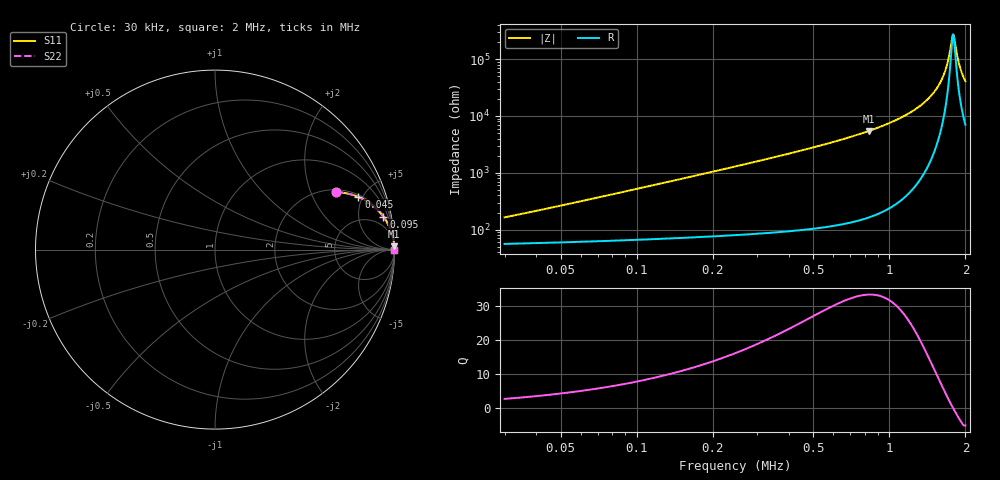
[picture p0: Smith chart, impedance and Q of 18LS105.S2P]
! Coilcraft 1812LS-105 Chip Inductor
! 8 August 2002
# MHZ S MA R 50
!Freq  MagS11  AngS11  MagS21  AngS21  MagS12  AngS12  MagS22  AngS22
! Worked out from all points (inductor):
!   395 points, 30 kHz to 2 MHz, reference 50 ohm
!   read as one part in series: L = 820 uH near 35 kHz
!   highest Q = 33.2 at 830 kHz (marker M1), where L = 1.04 mH
!   self-resonance near 1.785 MHz
!   S11 on the Smith chart (normalised r, x): 30 kHz: 2.12, +3.09; 45 kHz: 2.18, +4.64; 95 kHz: 2, +10; 2 MHz: open
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0.03  0.7486 25.3  0.4551 -44.7  0.4551 -44.7  0.7486 25.3
0.045  0.8512 20.2  0.3556 -55.6  0.3556 -55.6  0.8512 20.2
0.065  0.9158 15.3  0.2686 -64.2  0.2686 -64.2  0.9158 15.3
0.095  0.9559 11.0  0.193 -71.3  0.193 -71.3  0.9559 11.0
0.14  0.9781 7.7  0.1341 -76.8  0.1341 -76.8  0.9781 7.7
0.2  0.9887 5.4  0.0945 -80.4  0.0945 -80.4  0.9887 5.4
0.36  0.9963 2.9  0.05149 -84.4  0.05149 -84.4  0.9963 2.9
0.69  0.999 1.4  0.02391 -86.8  0.02391 -86.8  0.999 1.4
0.83  0.9993 1.1  0.01833 -87.2  0.01833 -87.2  0.9993 1.1
1.02  0.9995 0.7  0.01284 -87.4  0.01284 -87.4  0.9995 0.7
1.345  0.9996 0.4  0.006281 -86.6  0.006281 -86.6  0.9996 0.4
1.545  0.9997 0.2  0.003213 -83.8  0.003213 -83.8  0.9997 0.2
1.615  0.9997 0.1  0.002254 -81.2  0.002254 -81.2  0.9997 0.1
1.675  0.9996 0.1  0.001476 -76.2  0.001476 -76.2  0.9996 0.1
1.725  0.9996 0.0  0.0008727 -65.8  0.0008727 -65.8  0.9996 0.0
1.775  0.9996 0.0  0.0004066 -25.8  0.0004066 -25.8  0.9996 0.0
1.79  0.9996 -0.0  0.0003689 0.8  0.0003689 0.8  0.9996 -0.0
1.805  0.9996 -0.0  0.0004158 26.5  0.0004158 26.5  0.9996 -0.0
1.85  0.9996 -0.0  0.0008142 62.0  0.0008142 62.0  0.9996 -0.0
1.885  0.9996 -0.1  0.001191 70.9  0.001191 70.9  0.9996 -0.1
1.935  0.9996 -0.1  0.001741 76.6  0.001741 76.6  0.9996 -0.1
2  0.9996 -0.1  0.002448 80.0  0.002448 80.0  0.9996 -0.1
